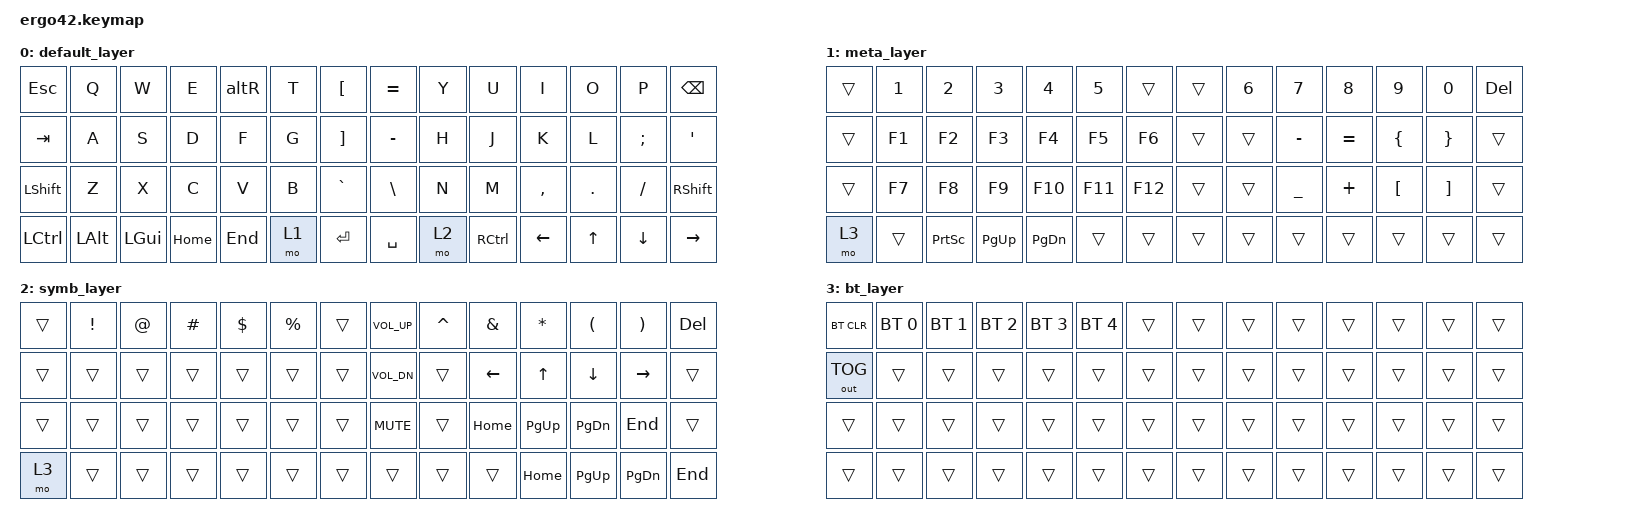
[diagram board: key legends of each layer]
#include <behaviors.dtsi>
#include <dt-bindings/zmk/bt.h>
#include <dt-bindings/zmk/keys.h>
#include <dt-bindings/zmk/outputs.h>

/ {

    behaviors {
        altR: altR {
            compatible = "zmk,behavior-mod-morph";
            label = "ALT_R";
            #binding-cells = <0>;
            bindings = <&kp R>, <&kp LA(F4)>;
            mods = <(MOD_LALT)>;
        };
    };

    keymap {
        compatible = "zmk,keymap";

  // DEFAULT
  // ,------------------------------------------------.   ,------------------------------------------------.
  // | ESC  |   Q  |   W  |   E  | AltR |  T   |  [   |   |  =   |  Y   |   U  |   I  |   O  |   P  | Bksp |
  // |------+------+------+------+------+------+------|   |------+------+------+------+------+------+------|
  // | Tab  |   A  |   S  |   D  |   F  |  G   |  ]   |   |  -   |  H   |   J  |   K  |   L  |   ;  |   '  |
  // |------+------+------+------+------+------+------|   |------+------+------+------+------+------+------|
  // | Shft |   Z  |   X  |   C  |   V  |  B   |  `   |   |  \   |  N   |   M  |   ,  |   .  |   /  | Shift|
  // |------+------+------+------+------+------+------|   |------+------+------+------+------+------+------|
  // | LCtrl| Alt  | Win  | Home | End  | META |Enter |   |Space | SYMB | Ctrl | LEFT |  UP  | DOWN | RIGHT|
  // `------------------------------------------------'   `------------------------------------------------'
  //
        default_layer {
            bindings = <
&kp ESC   &kp Q     &kp W     &kp E     &altR     &kp T     &kp LBKT  /**/ &kp EQUAL &kp Y     &kp U     &kp I     &kp O     &kp P     &kp BACKSPACE     
&kp TAB   &kp A     &kp S     &kp D     &kp F     &kp G     &kp RBKT  /**/ &kp MINUS &kp H     &kp J     &kp K     &kp L     &kp SEMI  &kp SQT   
&kp LSHFT &kp Z     &kp X     &kp C     &kp V     &kp B     &kp GRAVE /**/ &kp BSLH  &kp N     &kp M     &kp COMMA &kp DOT   &kp FSLH  &kp RSHFT 
&kp LCTRL &kp LALT  &kp LGUI  &kp HOME  &kp END   &mo 1     &kp ENTER /**/ &kp SPACE &mo 2     &kp RCTRL &kp LEFT  &kp UP    &kp DOWN  &kp RIGHT  
            >;
        };

  // META
  // ,------------------------------------------------.   ,------------------------------------------------.
  // |      |   1  |   2  |   3  |   4  |   5  |      |   |      |   6  |   7  |   8  |   9  |   0  | Del  |
  // |------+------+------+------+------+------+------|   |------+------+------+------+------+------+------|
  // |      |  F1  |  F2  |  F3  |  F4  |  F5  |  F6  |   |      |      |  -   |  =   |  {   |   }  |      |
  // |------+------+------+------+------+------+------|   |------+------+------+------+------+------+------|
  // |      |  F7  |  F8  |  F9  |  F10 |  F11 |  F12 |   |      |      |  _   |  +   |  [   |   ]  |      |
  // |------+------+------+------+------+------+------|   |------+------+------+------+------+------+------|
  // |      |      | PrtSc| PGUP | PGDN |      |      |   |      |      |      |      |      |      |      |
  // `------------------------------------------------'   `------------------------------------------------'
  //
        meta_layer {
            bindings = <
&trans &kp N1  &kp N2            &kp N3     &kp N4     &kp N5  &trans   /**/  &trans  &kp N6  &kp N7    &kp N8    &kp N9    &kp N0    &kp DELETE   
&trans &kp F1  &kp F2            &kp F3     &kp F4     &kp F5  &kp F6   /**/  &trans  &trans  &kp MINUS &kp EQUAL &kp LBRC  &kp RBRC  &trans
&trans &kp F7  &kp F8            &kp F9     &kp F10    &kp F11 &kp F12  /**/  &trans  &trans  &kp UNDER &kp PLUS  &kp LBKT  &kp RBKT  &trans
&mo 3  &trans  &kp PRINTSCREEN   &kp PG_UP  &kp PG_DN  &trans  &trans   /**/  &trans  &trans  &trans    &trans    &trans    &trans    &trans
            >;
        };

  // SYMB
  // ,------------------------------------------------.   ,------------------------------------------------.
  // |      |   !  |   @  |   #  |   $  |   %  |      |   | Vol+ |   ^  |   &  |   *  |   (  |   )  | Del  |
  // |------+------+------+------+------+------+------|   |------+------+------+------+------+------+------|
  // |      |      |      |      |      |      |      |   | Vol- |      | LEFT |  UP  | DOWN | RIGHT|      |
  // |------+------+------+------+------+------+------|   |------+------+------+------+------+------+------|
  // |      |      |      |      |      |      |      |   | Mute |      | HOME | PGUP | PGDN | END  |      |
  // |------+------+------+------+------+------+------|   |------+------+------+------+------+------+------|
  // |  BT  |      |      |      |      |      |      |   |      |      |      | HOME | PGUP | PGDN | END  |
  // `------------------------------------------------'   `------------------------------------------------'
  //
        symb_layer {
            bindings = <
&trans  &kp EXCL &kp AT  &kp HASH &kp DOLLAR &kp PERCENT &trans  /**/ &kp C_VOL_UP  &kp CARET &kp AMPS  &kp ASTRK &kp LPAR  &kp RPAR   &kp DELETE
&trans  &trans   &trans  &trans   &trans     &trans      &trans  /**/ &kp C_VOL_DN  &trans    &kp LEFT  &kp UP    &kp DOWN  &kp RIGHT  &trans
&trans  &trans   &trans  &trans   &trans     &trans      &trans  /**/ &kp C_MUTE    &trans    &kp HOME  &kp PG_UP &kp PG_DN &kp END    &trans
&mo 3   &trans   &trans  &trans   &trans     &trans      &trans  /**/ &trans        &trans    &trans    &kp HOME  &kp PG_UP &kp PG_DN  &kp END 
            >;
        };

  // BT 
  // ,------------------------------------------------.   ,------------------------------------------------.
  // |BT_CLR| BT0  | BT1  | BT2  | BT3  | BT4  |      |   |      |      |      |      |      |      |      |
  // |------+------+------+------+------+------+------|   |------+------+------+------+------+------+------|
  // |TOGGLE|      |      |      |      |      |      |   |      |      |      |      |      |      |      |
  // |------+------+------+------+------+------+------|   |------+------+------+------+------+------+------|
  // |      |      |      |      |      |      |      |   |      |      |      |      |      |      |      |
  // |------+------+------+------+------+------+------|   |------+------+------+------+------+------+------|
  // |      |      |      |      |      |      |      |   |      |      |      |      |      |      |      |
  // `------------------------------------------------'   `------------------------------------------------'
  //
        bt_layer {
            bindings = <
&bt BT_CLR   &bt BT_SEL 0 &bt BT_SEL 1 &bt BT_SEL 2 &bt BT_SEL 3 &bt BT_SEL 4 &trans /**/ &trans  &trans  &trans  &trans &trans   &trans   &trans
&out OUT_TOG &trans       &trans       &trans       &trans       &trans       &trans /**/ &trans  &trans  &trans  &trans &trans   &trans   &trans
&trans       &trans       &trans       &trans       &trans       &trans       &trans /**/ &trans  &trans  &trans  &trans &trans   &trans   &trans
&trans       &trans       &trans       &trans       &trans       &trans       &trans /**/ &trans  &trans  &trans  &trans &trans   &trans   &trans
            >;
        };

    };
};
